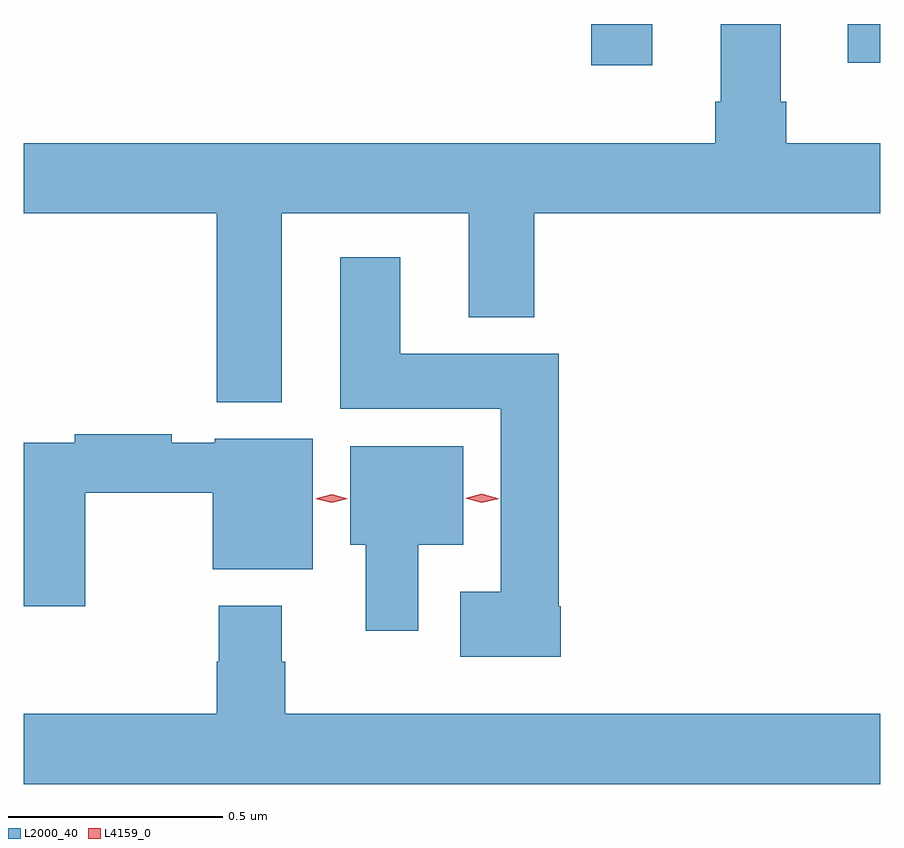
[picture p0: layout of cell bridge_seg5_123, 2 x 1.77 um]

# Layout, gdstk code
import gdstk
lib = gdstk.Library(unit=1e-6, precision=1e-09)
def R(c, l, rs):  # rectangles x0, y0, x1, y1
    for r in rs: c.add(gdstk.rectangle(r[:2], r[2:], *l))
def P(c, l, *ps):  # polygons
    for p in ps: c.add(gdstk.Polygon(p, *l))
L2000_40 = (2000, 40)
L4159_0 = (4159, 0)

bridge_seg5_123 = lib.new_cell('bridge_seg5_123')
R(bridge_seg5_123, L2000_40, [(439.299,895.734,439.441,895.83), (439.898,895.739,439.974,895.83)])
P(bridge_seg5_123, L2000_40, [(438.577,895.388),(439.013,895.388),(439.013,895.145),(439.166,895.145),(439.166,895.388),(439.974,895.388),(439.974,895.552),(439.754,895.552),(439.754,895.648),(439.741,895.648),(439.741,895.83),(439.601,895.83),(439.601,895.648),(439.589,895.648),(439.589,895.552),(437.974,895.552),(437.974,895.388),(438.425,895.388),(438.425,894.947),(438.577,894.947)],
  [(439.228,894.471),(439.223,894.471),(439.223,895.06),(438.853,895.06),(438.853,895.285),(438.713,895.285),(438.713,894.932),(439.088,894.932),(439.088,894.505),(438.993,894.505),(438.993,894.353),(439.228,894.353)],
  [(438.118,894.736),(438.416,894.736),(438.416,894.557),(438.649,894.557),(438.649,894.862),(438.42,894.862),(438.42,894.852),(438.32,894.852),(438.32,894.872),(438.094,894.872),(438.094,894.852),(437.974,894.852),(437.974,894.471),(438.118,894.471)],
  [(438.895,894.614),(439,894.614),(439,894.844),(438.737,894.844),(438.737,894.614),(438.773,894.614),(438.773,894.414),(438.895,894.414)],
  [(439.974,894.22),(438.585,894.22),(438.585,894.341),(438.577,894.341),(438.577,894.472),(438.43,894.472),(438.43,894.341),(438.425,894.341),(438.425,894.22),(437.974,894.22),(437.974,894.056),(439.974,894.056)])
P(bridge_seg5_123, L4159_0, [(439.044,894.713),(439.005,894.723),(439.004,894.723),(439.005,894.723),(439.044,894.733),(439.084,894.722),(439.084,894.722),(439.084,894.722)],
  [(438.693,894.712),(438.655,894.722),(438.655,894.722),(438.655,894.722),(438.693,894.732),(438.731,894.722),(438.731,894.722),(438.731,894.722)])

lib.write_gds('bridge_seg5_123.gds')
